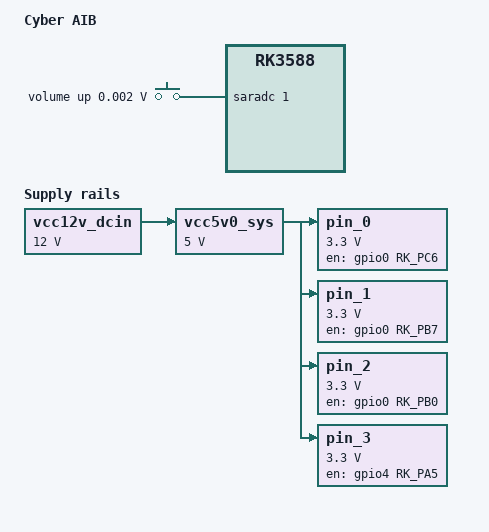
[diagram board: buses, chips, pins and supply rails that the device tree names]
// SPDX-License-Identifier: (GPL-2.0+ OR MIT)
/*
 * Copyright (c) 2021 Rockchip Electronics Co., Ltd
 *
 */

/dts-v1/;
#include "rk3588.dtsi"
#include "rk3588-u-boot.dtsi"
#include <dt-bindings/input/input.h>

/ {
	model = "Cyber AIB";
	compatible = "luoshenstudio,cyber-aib", "rockchip,rk3588";

	vcc12v_dcin: vcc12v-dcin {
		u-boot,dm-pre-reloc;
		compatible = "regulator-fixed";
		regulator-name = "vcc12v_dcin";
		regulator-always-on;
		regulator-boot-on;
		regulator-min-microvolt = <12000000>;
		regulator-max-microvolt = <12000000>;
	};

	vcc5v0_sys: vcc5v0-sys {
		u-boot,dm-pre-reloc;
		compatible = "regulator-fixed";
		regulator-name = "vcc5v0_sys";
		regulator-always-on;
		regulator-boot-on;
		regulator-min-microvolt = <5000000>;
		regulator-max-microvolt = <5000000>;
		vin-supply = <&vcc12v_dcin>;
	};

	adc-keys {
		compatible = "adc-keys";
		io-channels = <&saradc 1>;
		io-channel-names = "buttons";
		keyup-threshold-microvolt = <1800000>;
		u-boot,dm-pre-reloc;
		status = "okay";

		volumeup-key {
			u-boot,dm-pre-reloc;
			linux,code = <KEY_VOLUMEUP>;
			label = "volume up";
			press-threshold-microvolt = <1750>;
		};
	};

	pin_0: pin-0 {
		u-boot,dm-pre-reloc;
		compatible = "regulator-fixed";
		regulator-name = "vcc5v0_host";
		regulator-boot-on;
		regulator-always-on;
		regulator-min-microvolt = <3300000>;
		regulator-max-microvolt = <3300000>;
		enable-active-high;
		gpio = <&gpio0 RK_PC6 GPIO_ACTIVE_HIGH>;
		pinctrl-names = "default";
		pinctrl-0 = <&pinconf_0>;
		vin-supply = <&vcc5v0_sys>;
	};

	pin_1: pin-1 {
		u-boot,dm-pre-reloc;
		compatible = "regulator-fixed";
		regulator-name = "vcc5v0_host";
		regulator-boot-on;
		regulator-always-on;
		regulator-min-microvolt = <3300000>;
		regulator-max-microvolt = <3300000>;
		enable-active-high;
		gpio = <&gpio0 RK_PB7 GPIO_ACTIVE_HIGH>;
		pinctrl-names = "default";
		pinctrl-0 = <&pinconf_1>;
		vin-supply = <&vcc5v0_sys>;
	};

	pin_2: pin-2 {
		u-boot,dm-pre-reloc;
		compatible = "regulator-fixed";
		regulator-name = "vcc5v0_host";
		regulator-boot-on;
		regulator-always-on;
		regulator-min-microvolt = <3300000>;
		regulator-max-microvolt = <3300000>;
		enable-active-high;
		gpio = <&gpio0 RK_PB0 GPIO_ACTIVE_HIGH>;
		pinctrl-names = "default";
		pinctrl-0 = <&pinconf_2>;
		vin-supply = <&vcc5v0_sys>;
	};

	pin_3: pin-3 {
		u-boot,dm-pre-reloc;
		compatible = "regulator-fixed";
		regulator-name = "vcc5v0_host";
		regulator-boot-on;
		regulator-always-on;
		regulator-min-microvolt = <3300000>;
		regulator-max-microvolt = <3300000>;
		enable-active-high;
		gpio = <&gpio4 RK_PA5 GPIO_ACTIVE_LOW>;
		pinctrl-names = "default";
		pinctrl-0 = <&pinconf_3>;
		vin-supply = <&vcc5v0_sys>;
	};
};

&pinctrl {
	pinconf {

		pinconf_0: pinconf-0 {
			u-boot,dm-pre-reloc;
			rockchip,pins = <0 RK_PC6 RK_FUNC_GPIO &pcfg_pull_up>;
		};

		pinconf_1: pinconf-1 {
			u-boot,dm-pre-reloc;
			rockchip,pins = <0 RK_PB7 RK_FUNC_GPIO &pcfg_pull_up>;
		};

		pinconf_2: pinconf-2 {
			u-boot,dm-pre-reloc;
			rockchip,pins = <0 RK_PB0 RK_FUNC_GPIO &pcfg_pull_up>;
		};

		pinconf_3: pinconf-3 {
			u-boot,dm-pre-reloc;
			rockchip,pins = <4 RK_PA5 RK_FUNC_GPIO &pcfg_pull_down>;
		};

	};
};
